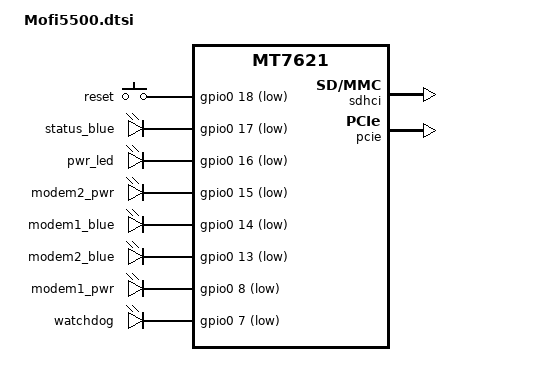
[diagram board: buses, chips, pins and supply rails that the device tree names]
/*
 *  BSD LICENSE
 *
 *  Copyright(c) 2017 Kristian Evensen <kristian.evensen@gmail.com>.
 *  Copyright(c) 2017 Piotr Dymacz <pepe2k@gmail.com>.
 *  All rights reserved.
 *
 *  Redistribution and use in source and binary forms, with or without
 *  modification, are permitted provided that the following conditions
 *  are met:
 *
 *    * Redistributions of source code must retain the above copyright
 *      notice, this list of conditions and the following disclaimer.
 *    * Redistributions in binary form must reproduce the above copyright
 *      notice, this list of conditions and the following disclaimer in
 *      the documentation and/or other materials provided with the
 *      distribution.
 *    * Neither the name of Broadcom Corporation nor the names of its
 *      contributors may be used to endorse or promote products derived
 *      from this software without specific prior written permission.
 *
 *  THIS SOFTWARE IS PROVIDED BY THE COPYRIGHT HOLDERS AND CONTRIBUTORS
 *  "AS IS" AND ANY EXPRESS OR IMPLIED WARRANTIES, INCLUDING, BUT NOT
 *  LIMITED TO, THE IMPLIED WARRANTIES OF MERCHANTABILITY AND FITNESS FOR
 *  A PARTICULAR PURPOSE ARE DISCLAIMED. IN NO EVENT SHALL THE COPYRIGHT
 *  OWNER OR CONTRIBUTORS BE LIABLE FOR ANY DIRECT, INDIRECT, INCIDENTAL,
 *  SPECIAL, EXEMPLARY, OR CONSEQUENTIAL DAMAGES (INCLUDING, BUT NOT
 *  LIMITED TO, PROCUREMENT OF SUBSTITUTE GOODS OR SERVICES; LOSS OF USE,
 *  DATA, OR PROFITS; OR BUSINESS INTERRUPTION) HOWEVER CAUSED AND ON ANY
 *  THEORY OF LIABILITY, WHETHER IN CONTRACT, STRICT LIABILITY, OR TORT
 *  (INCLUDING NEGLIGENCE OR OTHERWISE) ARISING IN ANY WAY OUT OF THE USE
 *  OF THIS SOFTWARE, EVEN IF ADVISED OF THE POSSIBILITY OF SUCH DAMAGE.
 */

#include "mt7621.dtsi"

#include <dt-bindings/gpio/gpio.h>
#include <dt-bindings/input/input.h>

/ {
	compatible = "mofi5500", "mediatek,mt7621-soc";

	aliases {
		led-boot = &led_status;
		led-failsafe = &led_status;
		led-running = &led_status;
		led-upgrade = &led_status;
	};

	chosen {
		bootargs = "console=ttyS0,115200";
	};

	keys {
		compatible = "gpio-keys-polled";
		poll-interval = <20>;

		reset {
			label = "reset";
			gpios = <&gpio0 18 GPIO_ACTIVE_LOW>;
			linux,code = <KEY_RESTART>;
		};
	};

	leds {
		compatible = "gpio-leds";

		led_status: status {
			label = "status_blue";
			gpios = <&gpio0 17 GPIO_ACTIVE_LOW>;
		};

		pwr_led {
			label = "pwr_led";
			gpios = <&gpio0 16 GPIO_ACTIVE_LOW>;
		};

		modem2_pwr {
			label = "modem2_pwr";
			gpios = <&gpio0 15 GPIO_ACTIVE_LOW>;
		};
		
		modem1_blue {
			label = "modem1_blue ";
			gpios = <&gpio0 14 GPIO_ACTIVE_LOW>;
		};

		modem2_blue {
			label = "modem2_blue";
			gpios = <&gpio0 13 GPIO_ACTIVE_LOW>;
		};

		modem1_pwr {
			label = "modem1_pwr";
			gpios = <&gpio0 8 GPIO_ACTIVE_LOW>;
		};

		watchdog {
			label = "watchdog";
			gpios = <&gpio0 7 GPIO_ACTIVE_LOW>;
		};
	};
};

&gpio0 {
	status = "okay";
};

&sdhci {
	status = "okay";
};

&pcie {
	status = "okay";
};

&ethernet {
	mtd-mac-address = <&factory 0xe000>;
	mediatek,portmap = "llllw";
};

&pinctrl {
	state_default: pinctrl0 {
		gpio {
			ralink,group = "jtag", "uart2", "wdt", "uart3";
			ralink,function = "gpio";
		};
	};
};
